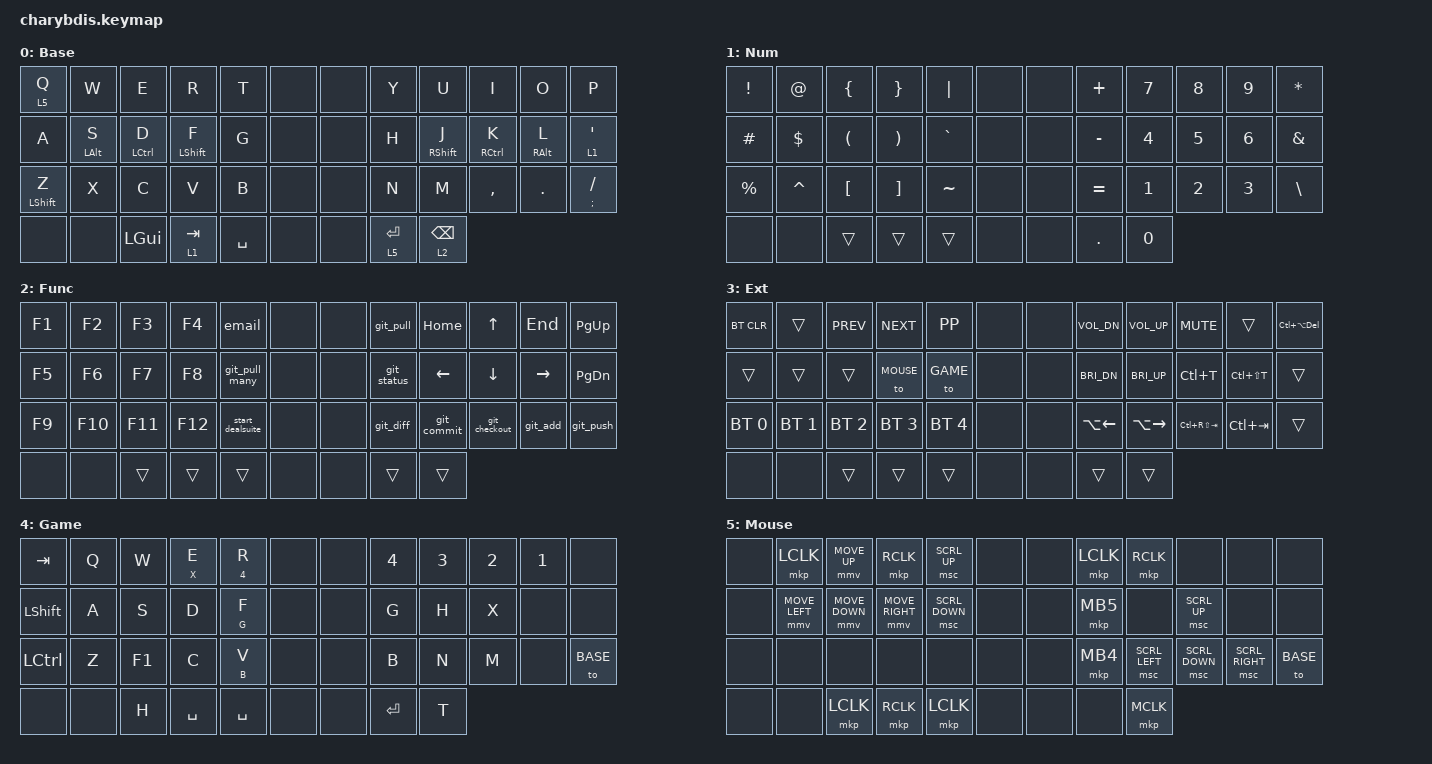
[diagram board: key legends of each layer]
#include <behaviors.dtsi>
#include <dt-bindings/zmk/bt.h>
#include <dt-bindings/zmk/keys.h>
#include <dt-bindings/zmk/pointing.h>

#define BASE  0
#define NUM   1
#define FUNC  2
#define EXT   3
#define GAME  4
#define MOUSE 5

&lt {
    tapping-term-ms = <200>;
    flavor = "balanced";
    quick-tap-ms = <150>;
};

&soft_off {
    hold-time-ms = <2000>; // Only turn off it the key is held for 2 seconds or longer.
};

/ {
    behaviors {
        hm: homerow_mods {
            compatible = "zmk,behavior-hold-tap";
            bindings = <&kp>, <&kp>;

            #binding-cells = <2>;
            tapping-term-ms = <200>;
            flavor = "tap-preferred";
            require-prior-idle-ms = <125>;
            quick-tap-ms = <200>;
        };
    };

    combos {
        compatible = "zmk,combos";

        Clear_BLE_Profile {
            bindings = <&bt BT_CLR>;
            key-positions = <0 4 40>;
        };

        space {
            bindings = <&kp SPACE>;
            key-positions = <19 20>;
        };

        enter {
            bindings = <&kp ENTER>;
            key-positions = <16 15>;
        };

        return {
            bindings = <&kp RET>;
            key-positions = <22 23>;
        };

        escape {
            bindings = <&kp ESC>;
            key-positions = <1 0>;
        };

        underline {
            bindings = <&kp UNDER>;
            key-positions = <9 8>;
        };

        dash {
            bindings = <&kp MINUS>;
            key-positions = <7 8>;
        };

        backslsh {
            bindings = <&kp BSLH>;
            key-positions = <34 35>;
        };

        reload {
            bindings = <&kp LC(R)>;
            key-positions = <4 3>;
        };

        undo {
            bindings = <&kp LC(Z)>;
            key-positions = <25 24>;
        };

        cut {
            bindings = <&kp LC(X)>;
            key-positions = <26 25>;
        };

        copy {
            bindings = <&kp LC(C)>;
            key-positions = <27 26>;
        };

        paste {
            bindings = <&kp LC(V)>;
            key-positions = <28 27>;
        };

        select_all {
            bindings = <&kp LC(A)>;
            key-positions = <13 12>;
        };

        save {
            bindings = <&kp LC(S)>;
            key-positions = <14 13>;
        };

        all_caps {
            bindings = <&kp CAPS>;
            key-positions = <15 20>;
        };

        backspace {
            bindings = <&kp BACKSPACE>;
            key-positions = <10 11>;
        };
    };

    macros {
        email: email {
            compatible = "zmk,behavior-macro";
            #binding-cells = <0>;
            bindings = <&none &kp B &kp R &kp Y &kp A &kp N &kp AT &kp P &kp E &kp C &kp J &kp O &kp DOT &kp C &kp O &kp M>;
            wait-ms = <0>;
        };

        git_status: git_status {
            compatible = "zmk,behavior-macro";
            #binding-cells = <0>;
            bindings = <&kp G &kp I &kp T &kp SPACE &kp S &kp T &kp A &kp T &kp U &kp S>;
            wait-ms = <0>;
        };

        git_pull: git_pull {
            compatible = "zmk,behavior-macro";
            #binding-cells = <0>;
            bindings = <&kp G &kp I &kp T &kp SPACE &kp P &kp U &kp L &kp L>;
            wait-ms = <0>;
        };

        git_pull_many: git_pull_many {
            compatible = "zmk,behavior-macro";
            #binding-cells = <0>;
            bindings = <&kp LC(R) &kp G &kp I &kp T &kp SPACE &kp MINUS &kp LEFT_SHIFT &kp C &kp SPACE &kp LBRC &kp RBRC &kp SPACE &kp P &kp U &kp L &kp L &kp SQT>;
            wait-ms = <0>;
        };

        git_push: git_push {
            compatible = "zmk,behavior-macro";
            #binding-cells = <0>;
            bindings = <&kp G &kp I &kp T &kp SPACE &kp P &kp U &kp S &kp H>;
            wait-ms = <0>;
        };

        git_add: git_add {
            compatible = "zmk,behavior-macro";
            #binding-cells = <0>;
            bindings = <&kp G &kp I &kp T &kp SPACE &kp A &kp D &kp D &kp SPACE &kp DOT>;
            wait-ms = <0>;
        };

        git_diff: git_diff {
            compatible = "zmk,behavior-macro";
            #binding-cells = <0>;
            bindings = <&kp G &kp I &kp T &kp SPACE &kp D &kp I &kp F &kp F>;
            wait-ms = <0>;
        };

        git_checkout: git_checkout {
            compatible = "zmk,behavior-macro";
            #binding-cells = <0>;
            bindings = <&kp G &kp I &kp T &kp SPACE &kp C &kp H &kp E &kp C &kp K &kp O &kp U &kp T &kp SPACE>;
            wait-ms = <0>;
        };

        git_commit: git_commit {
            compatible = "zmk,behavior-macro";
            #binding-cells = <0>;
            bindings = <&kp G &kp I &kp T &kp SPACE &kp C &kp O &kp M &kp M &kp I &kp T &kp SPACE &kp MINUS &kp M &kp SPACE &kp DOUBLE_QUOTES &kp DOUBLE_QUOTES &kp LEFT>;
            wait-ms = <0>;
        };

        start_dealsuite: start_dealsuite {
            compatible = "zmk,behavior-macro";
            #binding-cells = <0>;
            bindings =
                <&kp LC(R)>,
                <&macro_wait_time 50>,
                <&kp C &kp E &kp L &kp E &kp RET>,
                <&macro_wait_time 2000>,
                <&kp LC(LS(N5)) &kp LC(R)>,
                <&macro_wait_time 50>,
                <&kp R &kp U &kp N &kp SPACE &kp RET>,
                <&macro_wait_time 2000>,
                <&kp LC(LS(N5)) &kp LC(R)>,
                <&macro_wait_time 50>,
                <&kp A &kp P &kp P &kp DOT &kp RET>,
                <&macro_wait_time 2000>,
                <&kp LC(LS(N5)) &kp LC(R)>,
                <&macro_wait_time 50>,
                <&kp R &kp U &kp N &kp S &kp RET>,
                <&macro_wait_time 2000>,
                <&kp LC(LS(N1)) &kp LC(R)>,
                <&macro_wait_time 50>,
                <&kp N &kp G &kp RET>;
        };
    };

    keymap {
        compatible = "zmk,keymap";

        base_layer {
            display-name = "Base";

            //╭──────────┬──────────┬──────────┬──────────┬──────────╮   ╭──────────┬──────────┬──────────┬──────────┬──────────╮
            //│  🖯/Q  [esc]  W     │     E    │    R [reload]  T    │   │   Y    [ - ]  U   [ _ ]  I     │   O    [ ⌫ ]  P    │
            //├──────────┼──────────┼──────────┼──────────┼──────────┤   ├──────────┼──────────┼──────────┼──────────┼──────────┤
            //│    A   [all]  S   [save]  D    │    F   [ ↵ ]   G    │   │   H   [space]  J    │    K     │   L    [ ↵ ]  '"    │
            //├──────────┼──────────┼──────────┼──────────┼──────────┤   ├──────────┼──────────┼──────────┼──────────┼──────────┤
            //│    Z   [ ⭮ ]  X  [ ✂ ]   C  [copy] V  [paste]  B    │   │   N      │    M     │   ,<     │  .>    [ \ ]  /?    │
            //╰──────────┴──────────┼──────────┼──────────┼──────────┤   ├──────────┼──────────┼──────────┴──────────┴──────────╯
            //                      │    ⊞    │  🔽/↹   │  SPACE   │   │   🖯/⏎   │  🔼/⌫  │
            //                      ╰──────────┴──────────┴──────────╯   ╰──────────┴──────────╯

            bindings = <
&lt 5 Q      &kp W       &kp E        &kp R        &kp T      &none    &none  &kp Y      &kp U        &kp I        &kp O       &kp P
&kp A        &hm LALT S  &hm LCTRL D  &hm LSHFT F  &kp G      &none    &none  &kp H      &hm RSHFT J  &hm RCTRL K  &hm RALT L  &lt 1 SQT
&hm LSHFT Z  &kp X       &kp C        &kp V        &kp B      &none    &none  &kp N      &kp M        &kp COMMA    &kp DOT     &hm SEMI FSLH
&none        &none       &kp LGUI     &lt 1 TAB    &kp SPACE  &none    &none  &lt 5 RET  &lt 2 BSPC
            >;
        };

        num_layer {
            display-name = "Num";

            //╭──────────┬──────────┬──────────┬──────────┬──────────╮   ╭──────────┬──────────┬──────────┬──────────┬──────────╮
            //|  !       |  @       |  {       |  }       | "|"      |   |  +       |  7       |  8       |  9       |  *       |
            //├──────────┼──────────┼──────────┼──────────┼──────────┤   ├──────────┼──────────┼──────────┼──────────┼──────────┤
            //|  #       |  $       |  (       |  )       |  `       |   |  -       |  4       |  5       |  6       |  &       |
            //├──────────┼──────────┼──────────┼──────────┼──────────┤   ├──────────┼──────────┼──────────┼──────────┼──────────┤
            //|  %       |  ^       |  [       |  ]       |  ~       |   |  =       |  1       |  2       |  3       |  \       |
            //╰──────────┴──────────┼──────────┼──────────┼──────────┤   ├──────────┼──────────┼──────────┴──────────┴──────────╯
            //                      |          |    🔴    |          │   │  .       |  0       |
            //                      ╰──────────┴──────────┴──────────╯   ╰──────────┴──────────╯

            bindings = <
&kp EXCL     &kp AT      &kp LBRC  &kp RBRC  &kp PIPE   &none    &none  &kp PLUS   &kp N7  &kp N8  &kp N9  &kp STAR
&kp HASH     &kp DOLLAR  &kp LPAR  &kp RPAR  &kp GRAVE  &none    &none  &kp MINUS  &kp N4  &kp N5  &kp N6  &kp AMPS
&kp PERCENT  &kp CARET   &kp LBKT  &kp RBKT  &kp TILDE  &none    &none  &kp EQUAL  &kp N1  &kp N2  &kp N3  &kp BSLH
&none        &none       &trans    &trans    &trans     &none    &none  &kp DOT    &kp N0
            >;
        };

        func_layer {
            display-name = "Func";

            //╭──────────┬──────────┬──────────┬──────────┬──────────╮   ╭──────────┬──────────┬──────────┬──────────┬──────────╮
            //|   F1     |  F2      |  F3      |  F4      | email    |   | g.pull   |  HOME    |  ▲       |  END     |  PG_UP   |
            //├──────────┼──────────┼──────────┼──────────┼──────────┤   ├──────────┼──────────┼──────────┼──────────┼──────────┤
            //|   F5     |  F6      |  F7      |  F8      | g.pull_m |   | g.status |   ◄      |  ▼       |  ►       |  PG_DN   |
            //├──────────┼──────────┼──────────┼──────────┼──────────┤   ├──────────┼──────────┼──────────┼──────────┼──────────┤
            //|   F9     |  F10     |  F11     |  F12     | dealsuit |   | g.diff   | g.commit | g.chkout |  g.add   |  g.push  |
            //╰──────────┴──────────┼──────────┼──────────┼──────────┤   ├──────────┼──────────┼──────────┴──────────┴──────────╯
            //                      |          |          |          |   |          |   🔴     |
            //                      ╰──────────┴──────────┴──────────╯   ╰──────────┴──────────╯

            bindings = <
&kp F1  &kp F2   &kp F3   &kp F4   &email            &none    &none  &git_pull    &kp HOME     &kp UP         &kp END    &kp PG_UP
&kp F5  &kp F6   &kp F7   &kp F8   &git_pull_many    &none    &none  &git_status  &kp LEFT     &kp DOWN       &kp RIGHT  &kp PAGE_DOWN
&kp F9  &kp F10  &kp F11  &kp F12  &start_dealsuite  &none    &none  &git_diff    &git_commit  &git_checkout  &git_add   &git_push
&none   &none    &trans   &trans   &trans            &none    &none  &trans       &trans
            >;
        };

        extended_layer {
            display-name = "Ext";

            //╭──────────┬──────────┬──────────┬──────────┬──────────╮   ╭──────────┬──────────┬──────────┬──────────┬──────────╮
            //|   ᛒ🗙    |          |    ⏮    |    ⏭     |    ⏯     |   |   🔉    |    🔊    |   🔇     |          |    ⏻    |
            //├──────────┼──────────┼──────────┼──────────┼──────────┤   ├──────────┼──────────┼──────────┼──────────┼──────────┤
            //|          |          |          |    ⚪   |    🔵    |   |   🔅    |    🔆    |  ^ T     |  ^⇧ T    |          |
            //├──────────┼──────────┼──────────┼──────────┼──────────┤   ├──────────┼──────────┼──────────┼──────────┼──────────┤
            //|   ᛒ1     |   ᛒ2     |   ᛒ3     |   ᛒ4     |   ᛒ5     |   |  alt-◄   |  alt-►   |  ^ Tab   |  ^⇧ Tab  |          |
            //╰──────────┴──────────┼──────────┼──────────┼──────────┤   ├──────────┼──────────┼──────────┴──────────┴──────────╯
            //                      |          |    🔴   |          |   |          |   ⭕     |
            //                      ╰──────────┴──────────┴──────────╯   ╰──────────┴──────────╯

            bindings = <
&bt BT_CLR    &trans        &kp C_PREV    &kp C_NEXT    &kp K_PP      &none    &none  &kp C_VOL_DN  &kp C_VOL_UP   &kp C_MUTE       &trans         &kp LC(LA(DEL))
&trans        &trans        &trans        &to MOUSE     &to GAME      &none    &none  &kp C_BRI_DN  &kp C_BRI_UP   &kp LC(T)        &kp LC(LS(T))  &trans
&bt BT_SEL 0  &bt BT_SEL 1  &bt BT_SEL 2  &bt BT_SEL 3  &bt BT_SEL 4  &none    &none  &kp LA(LEFT)  &kp LA(RIGHT)  &kp LC(RS(TAB))  &kp LC(TAB)    &trans
&none         &none         &trans        &trans        &trans        &none    &none  &trans        &trans
            >;
        };

        game_layer {
            display-name = "Game";

            //╭──────────┬──────────┬──────────┬──────────┬──────────╮   ╭──────────┬──────────┬──────────┬──────────┬──────────╮
            //|  Inv     |  Tact.A  |  ▲       |  Hands   |  Reload  |   | Health   |  3       |  4       |   1      |   2      |
            //├──────────┼──────────┼──────────┼──────────┼──────────┤   ├──────────┼──────────┼──────────┼──────────┼──────────┤
            //|  Sprint  |  ◄       |  ▼       |  ►       |  Ping    |   | Grenade  | CharMove |  X       |          |          |
            //├──────────┼──────────┼──────────┼──────────┼──────────┤   ├──────────┼──────────┼──────────┼──────────┼──────────┤
            //|  Crouch  |  Ulti.A  |  F1      |  Crouch  |  Melee   |   | FireMode | Look Gun |  Map     |          |    🟢    |
            //╰──────────┴──────────┼──────────┼──────────┼──────────┤   ├──────────┼──────────┼──────────┴──────────┴──────────╯
            //                      |  Grenade |  Jump    | Jump     │   │  ENTER   │  T       |
            //                      ╰──────────┴──────────┴──────────╯   ╰──────────┴──────────╯

            bindings = <
&kp TAB    &kp Q  &kp W   &hm X E    &hm N4 R   &none    &none  &kp N4   &kp N3  &kp N2  &kp N1  &none
&kp LSHFT  &kp A  &kp S   &kp D      &hm G F    &none    &none  &kp G    &kp H   &kp X   &none   &none
&kp LCTRL  &kp Z  &kp F1  &kp C      &hm B V    &none    &none  &kp B    &kp N   &kp M   &none   &to BASE
&none      &none  &kp H   &kp SPACE  &kp SPACE  &none    &none  &kp RET  &kp T
            >;
        };

        mouse_layer {
            display-name = "Mouse";

            //╭──────────┬──────────┬──────────┬──────────┬──────────╮   ╭──────────┬──────────┬──────────┬──────────┬──────────╮
            //|    🔴    |  L.CLK   |  🖯 ▲    |  R.CLK   |  S ▲     |   |  L.CLK   |  R.CLK   |          |          |          |
            //├──────────┼──────────┼──────────┼──────────┼──────────┤   ├──────────┼──────────┼──────────┼──────────┼──────────┤
            //|          |  🖯 ◄    |  🖯 ▼    |  🖯 ►    |  S ▼     |   |   🖯 5   |          |  S ▲     |          |           |
            //├──────────┼──────────┼──────────┼──────────┼──────────┤   ├──────────┼──────────┼──────────┼──────────┼──────────┤
            //|          |          |          |          |          |   |   🖯 4   |  S ◄     |  S ▼     |  S ►     |    🟢    |
            //╰──────────┴──────────┼──────────┼──────────┼──────────┤   ├──────────┼──────────┼──────────┴──────────┴──────────╯
            //                      |  L.CLK   |  R.CLK   |  L.CLK   │   │    🔴    |  M.CLK   |
            //                      ╰──────────┴──────────┴──────────╯   ╰──────────┴──────────╯

            bindings = <
&none  &mkp LCLK       &mmv MOVE_UP    &mkp RCLK        &msc SCRL_UP    &none    &none  &mkp LCLK &mkp RCLK       &none           &none            &none
&none  &mmv MOVE_LEFT  &mmv MOVE_DOWN  &mmv MOVE_RIGHT  &msc SCRL_DOWN  &none    &none  &mkp MB5  &none           &msc SCRL_UP    &none            &none
&none  &none           &none           &none            &none           &none    &none  &mkp MB4  &msc SCRL_LEFT  &msc SCRL_DOWN  &msc SCRL_RIGHT  &to BASE
&none  &none           &mkp LCLK       &mkp RCLK        &mkp LCLK       &none    &none  &none     &mkp MCLK
            >;
        };
    };

    conditional_layers {
        compatible = "zmk,conditional-layers";

        Activate_EXT {
            if-layers = <NUM FUNC>;
            then-layer = <EXT>;
        };
    };
};
